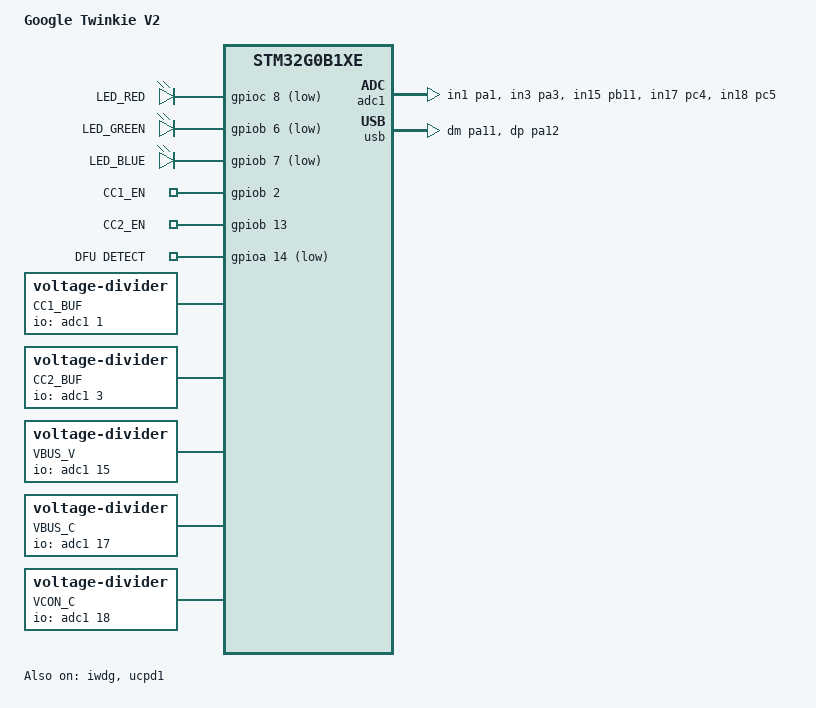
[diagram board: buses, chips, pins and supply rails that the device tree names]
/*
 * Copyright 2022 The Chromium OS Authors
 *
 * SPDX-License-Identifier: Apache-2.0
 */

/dts-v1/;
#include <st/g0/stm32g0b1Xe.dtsi>
#include <st/g0/stm32g0b1r(b-c-e)ixn-pinctrl.dtsi>

/ {
	model = "Google Twinkie V2";
	compatible = "google,twinkie-v2";

	chosen {
		zephyr,sram = &sram0;
		zephyr,flash = &flash0;
		zephyr,shell_uart = &cdc_acm_uart0;
		zephyr,console = &cdc_acm_uart1;
		zephyr,code-partition = &slot0_partition;
	};

	leds {
		compatible = "gpio-leds";
		red_led_0: led0 {
			gpios = <&gpioc 8 GPIO_ACTIVE_LOW>;
			label = "LED_RED";
		};
		green_led_1: led1 {
			gpios = <&gpiob 6 GPIO_ACTIVE_LOW>;
			label = "LED_GREEN";
		};
		blue_led_2: led2 {
			gpios = <&gpiob 7 GPIO_ACTIVE_LOW>;
			label = "LED_BLUE";
		};
	};

        cc_config {
		compatible = "gpio-leds";
		cc1_en: cc1en {
			gpios = <&gpiob 2 GPIO_ACTIVE_HIGH>;
			label = "CC1_EN";
		};

		cc2_en: cc2en {
			gpios = <&gpiob 13 GPIO_ACTIVE_HIGH>;
			label = "CC2_EN";
		};
        };

	gpio_keys {
		compatible = "gpio-keys";
		dfu_detect: dfudetect {
			label = "DFU DETECT";
			gpios = <&gpioa 14 (GPIO_ACTIVE_LOW | GPIO_PULL_UP)>;
		};
	};

	cc1_buf: cc1buf {
                compatible = "voltage-divider";
		io-channels = <&adc1 1>;
		output-ohms = <0>;
                label = "CC1_BUF";
	};

	cc2_buf: cc2buf {
                compatible = "voltage-divider";
		io-channels = <&adc1 3>;
		output-ohms = <0>;
                label = "CC2_BUF";
	};

	vbus_v: vbusv {
                compatible = "voltage-divider";
		io-channels = <&adc1 15>;
		output-ohms = <68000>;
		full-ohms = <(2000000 + 68000)>;
                label = "VBUS_V";
	};

	vbus_c: vbusc {
                compatible = "voltage-divider";
		io-channels = <&adc1 17>;
		output-ohms = <49900>;
		full-ohms = <(330000 + 49900)>;
                label = "VBUS_C";
	};

	vcon_c: vconc {
                compatible = "voltage-divider";
		io-channels = <&adc1 18>;
		output-ohms = <0>;
                label = "VCON_C";
	};


	aliases {
		led0 = &red_led_0;
		led1 = &green_led_1;
		led2 = &blue_led_2;
		bootloader-led0 = &blue_led_2;
		encc1 = &cc1_en;
		encc2 = &cc2_en;
                vcc1 = &cc1_buf;
                vcc2 = &cc2_buf;
                vbus = &vbus_v;
                cbus = &vbus_c;
                ccon = &vcon_c;
	};
};


&adc1 {
        pinctrl-0 = <&adc1_in1_pa1	/* CC1_BUF	 */
		     &adc1_in3_pa3	/* CC2_BUF	 */
		     &adc1_in15_pb11	/* VBUS_READ_BUF */
		     &adc1_in17_pc4	/* CSA_VBUS	 */
		     &adc1_in18_pc5	/* CSA_CC2	 */
		    >;

        pinctrl-names = "default";
        status = "okay";
};

&clk_hsi {
	status = "okay";
};

&pll {
	div-m = <1>;
	mul-n = <8>;
	div-p = <2>;
	div-q = <2>;
	div-r = <2>;
	clocks = <&clk_hsi>;
	status = "okay";
};

&rcc {
	clocks = <&pll>;
	clock-frequency = <DT_FREQ_M(64)>;
	ahb-prescaler = <1>;
	apb1-prescaler = <1>;
};

&iwdg {
	status = "okay";
};

&flash0 {
	partitions {
		compatible = "fixed-partitions";
		#address-cells = <1>;
		#size-cells = <1>;

		/* MCUboot partition, size 64Kb */
		boot_partition: partition@0 {
			label = "mcuboot";
			reg = <0x0 0x10000>;
			read-only;
		};

		/* Primary application partition, size 224Kb */
		slot0_partition: partition@10000 {
			label = "image-0";
			reg = <0x10000 0x38000>;
		};

		/* Secondary application partition, size 224Kb */
		slot1_partition: partition@48000 {
			label = "image-1";
			reg = <0x48000 0x38000>;
		};

	};
};

&ucpd1 {
	status = "okay";

	/*
	 * UCPD is fed directly from HSI which is @ 16MHz. The ucpd_clk goes to
	 * a prescaler who's output feeds the 'half-bit' divider which is used
	 * to generate clock for delay counters and BMC Rx/Tx blocks. The rx is
	 * designed to work in freq ranges of 6 <--> 18 MHz, however recommended
	 * range is 9 <--> 18 MHz.
	 *
	 *          +-------+ @ 16 MHz +-------+   @ ~600 kHz   +-----------+
	 * HSI ---->| /psc  |--------->| /hbit |--------------->| trans_cnt |
	 *          +-------+          +-------+   |            +-----------+
	 *                                         |            +-----------+
	 *                                         +----------->| ifrgap_cnt|
	 *                                                      +-----------+
	 * Requirements:
	 *   1. hbit_clk ~= 600 kHz: 16 MHz / 600 kHz = 26.67
	 *   2. tTransitionWindow - 12 to 20 uSec
	 *   3. tInterframGap - uSec
	 *
	 * hbit_clk = HSI_clk / 27 = 592.6 kHz = 1.687 uSec period
	 * tTransitionWindow = 1.687 uS * 8 = 13.5 uS
	 * tInterFrameGap = 1.687 uS * 17 = 28.68 uS
	 */
	psc-ucpdclk = <1>;
	hbitclkdiv = <27>;
};

zephyr_udc0: &usb {
	/* Twinkie V2 Command Shell */
	cdc_acm_uart0: cdc_acm_uart0 {
		compatible = "zephyr,cdc-acm-uart";
		label = "CDC_ACM_0";
	};

	/* Twinkie V2 Packet Logging */
	cdc_acm_uart1: cdc_acm_uart1 {
		compatible = "zephyr,cdc-acm-uart";
		label = "CDC_ACM_1";
	};

	pinctrl-0 = <&usb_dm_pa11 &usb_dp_pa12>;
	pinctrl-names = "default";
	status = "okay";
};
